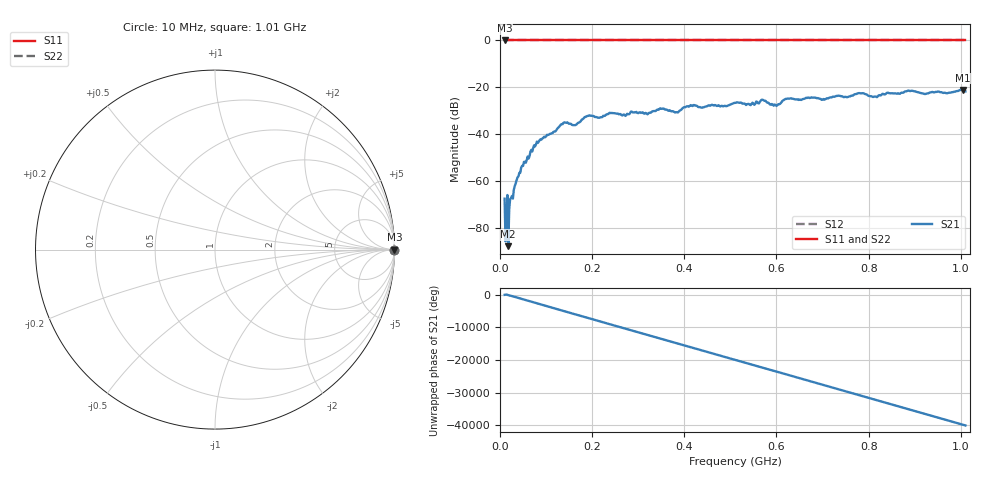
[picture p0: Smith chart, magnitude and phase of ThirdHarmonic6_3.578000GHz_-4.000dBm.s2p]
! 8/17/2025 11:52:25 AM
! C:\ANRITSUVNA\TEMP\TEMP.S2P
! CHANNEL.1
! TR.MEASUREMENT
! RAW.DATA
! RF.CORRECTION.OFF
! AVERAGING.OFF
! IF.BANDWIDTH: 5KHZ
! SWEEPTYPE:  FREQ.SWEEP(Linear)
! Reference Plane Port Info
! PORT:  PORT1  PORT2
! DISTANCE:  0  m  0  m
! TIME:  0  s  0  s
! PHASE.OFFSET:  0  deg.  0  deg.
! LOSS:  0  dB  0  dB
! REF.LOSS:  0  dB  0  dB
! REF.FREQ:  0  Hz  0  Hz
! Power Info
! POWER:  -20  dBm  -20  dBm
! EFF.POWER:  -20  dBm  -20  dBm
! SOURCE.ATTEN:  0  dB  0  dB
! TEST.ATTEN:  0  dB  0  dB
# GHZ S RI R 50.0
! FREQ.GHZ  S11RE  S11IM  S21RE  S21IM  S12RE  S12IM  S22RE  S22IM
!; PortSelection: Port_12
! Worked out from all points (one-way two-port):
!   501 points, 10 MHz to 1.01 GHz, reference 50 ohm
!   highest |S21| = -21.14 dB at 1.004 GHz (marker M1); lowest = -88.0 dB at 18 MHz (marker M2)
!   lowest |S11| = 0.0 dB at 10 MHz (marker M3)
!   |S11| at or under -10 dB: nowhere
!   |S22| runs from 0.0 to 0.0 dB; largest |S21 - S12| = 1.1
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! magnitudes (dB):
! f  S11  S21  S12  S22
! 10 MHz  0.0  -67.7  0.0  0.0
! 12 MHz  0.0  -85.9  0.0  0.0
! 16 MHz  0.0  -66.1  0.0  0.0
! 18 MHz  0.0  -88.0  0.0  0.0
! 34 MHz  0.0  -61.1  0.0  0.0
! 44 MHz  0.0  -56.6  0.0  0.0
! 76 MHz  0.0  -45.3  0.0  0.0
! 136 MHz  0.0  -35.8  0.0  0.0
! 162 MHz  0.0  -36.2  0.0  0.0
! 178 MHz  0.0  -33.8  0.0  0.0
! 192 MHz  0.0  -32.2  0.0  0.0
! 344 MHz  0.0  -29.6  0.0  0.0
! 384 MHz  0.0  -30.7  0.0  0.0
! 416 MHz  0.0  -27.9  0.0  0.0
! 510 MHz  0.0  -26.7  0.0  0.0
! 572 MHz  0.0  -25.6  0.0  0.0
! 598 MHz  0.0  -27.6  0.0  0.0
! 622 MHz  0.0  -25.0  0.0  0.0
! 678 MHz  0.0  -24.4  0.0  0.0
! 844 MHz  0.0  -22.5  0.0  0.0
! 1.004 GHz  0.0  -21.1  0.0  0.0
! 1.01 GHz  0.0  -21.8  0.0  0.0
